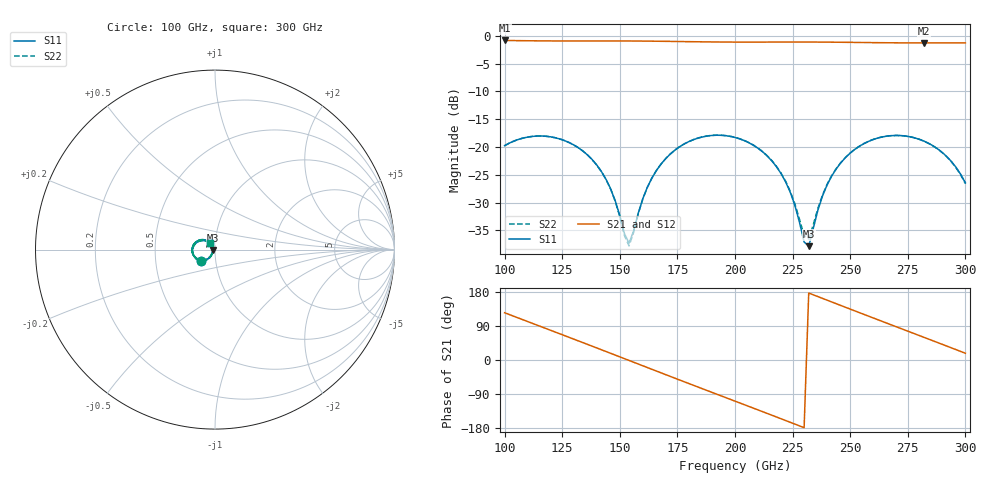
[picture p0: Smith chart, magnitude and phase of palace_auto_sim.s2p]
#  GHZ S DB R 50
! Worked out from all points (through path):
!   101 points, 100 GHz to 300 GHz, reference 50 ohm
!   highest |S21| = -0.81 dB at 100 GHz (marker M1); lowest = -1.3 dB at 282 GHz (marker M2)
!   group delay of S21, straight-line fit = 6.49 ps
!   lowest |S11| = -37.9 dB at 232 GHz (marker M3), VSWR 1.03, Z = 48.8 - j0.354 ohm
!   |S11| at or under -10 dB: start of sweep to end of sweep
!   |S22| runs from -37.8 to -17.9 dB; largest |S21 - S12| = 1.1e-14
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100  -19.76 -141.3  -0.81 124.7  -0.81 124.7  -19.76 -141.4
116  -18.02 -175.4  -0.88 87.6  -0.88 87.6  -18.02 -175.5
124  -18.56 167.7  -0.90 69.0  -0.90 69.0  -18.56 167.6
134  -20.73 147.4  -0.90 45.8  -0.90 45.8  -20.74 147.3
144  -25.81 131.8  -0.89 22.4  -0.89 22.4  -25.84 131.4
154  -37.33 -173.1  -0.90 -1.1  -0.90 -1.1  -37.81 -172.1
160  -29.29 -123.2  -0.92 -15.3  -0.92 -15.3  -29.34 -121.5
168  -23.02 -129.0  -0.96 -34.1  -0.96 -34.1  -23.02 -127.9
184  -18.39 -160.0  -1.05 -71.5  -1.05 -71.5  -18.38 -159.0
200  -18.28 166.4  -1.10 -108.6  -1.10 -108.6  -18.26 167.5
218  -23.55 131.7  -1.10 -150.4  -1.10 -150.4  -23.49 133.7
224  -28.17 126.0  -1.09 -164.5  -1.09 -164.5  -27.99 129.2
230  -37.11 155.8  -1.09 -178.6  -1.09 -178.6  -35.97 159.7
232  -37.87 -163.5  -1.09 176.7  -1.09 176.7  -36.56 -165.8
234  -34.62 -135.9  -1.10 172.0  -1.10 172.0  -33.96 -140.4
240  -26.81 -123.6  -1.11 157.8  -1.11 157.8  -26.70 -125.9
246  -22.81 -131.1  -1.13 143.7  -1.13 143.7  -22.77 -132.4
258  -18.98 -153.8  -1.19 115.6  -1.19 115.6  -18.97 -154.5
268  -17.95 -174.3  -1.23 92.4  -1.23 92.4  -17.95 -174.9
282  -18.94 157.1  -1.25 59.9  -1.25 59.9  -18.95 156.5
292  -21.76 138.6  -1.25 36.5  -1.25 36.5  -21.80 137.5
300  -26.45 129.4  -1.24 17.8  -1.24 17.8  -26.60 127.0
